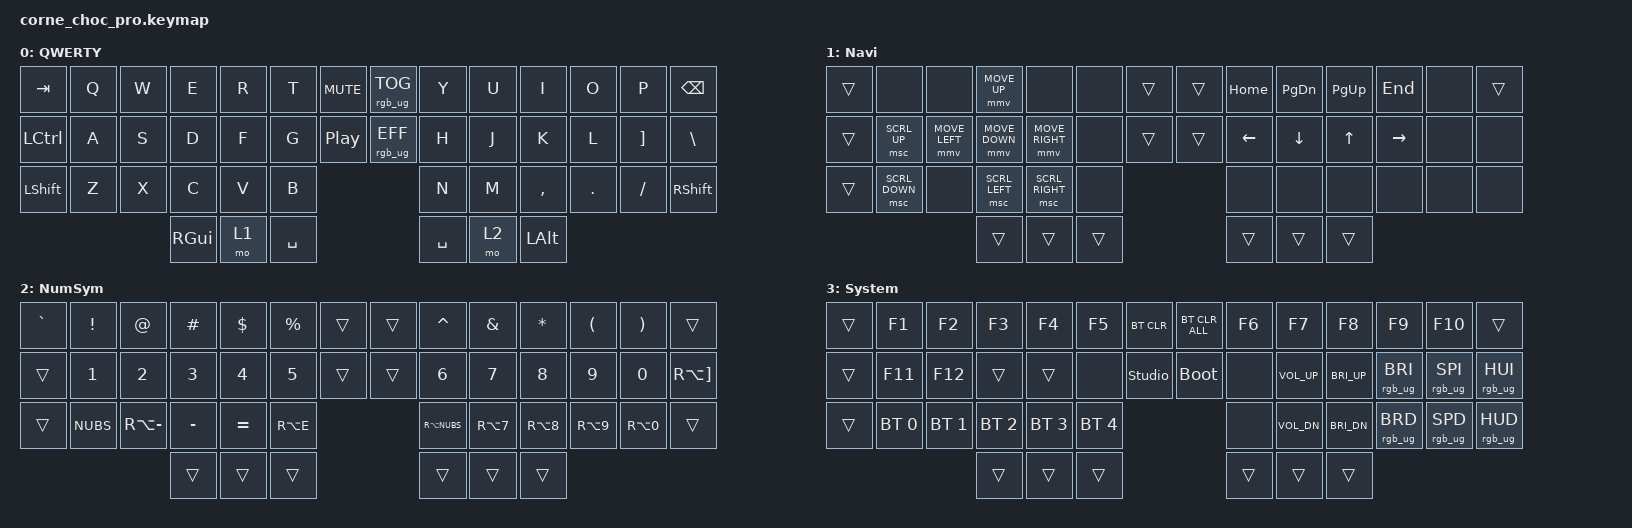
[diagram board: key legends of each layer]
/*
 * Copyright (c) 2020 The ZMK Contributors
 *
 * SPDX-License-Identifier: MIT
 */

#include <behaviors.dtsi>
#include <dt-bindings/zmk/keys.h>
#include <dt-bindings/zmk/bt.h>
#include <dt-bindings/zmk/rgb.h>

#define ZMK_POINTING_DEFAULT_MOVE_VAL 800  // default: 600
#define ZMK_POINTING_DEFAULT_SCRL_VAL 15    // default: 10
#include <dt-bindings/zmk/pointing.h>

#define DEF 0
#define NAV 1
#define SYM 2
#define ADJ 3

#define COMBO(NAME, BINDINGS, KEYPOS) \
    combo_##NAME { \
        timeout-ms = <50>; \
        bindings = <BINDINGS>; \
        key-positions = <KEYPOS>; \
        layers = <0>; \
    };

/ {
    chosen {
        zmk,physical-layout = &default_layout;
    };
};

/ {
//Row 0:      0   1   2   3   4   5   6       7   8   9  10  11  12  13
//Row 1:     14  15  16  17  18  19  20      21  22  23  24  25  26  27
//Row 2:     28  29  30  31  32  33              34  35  36  37  38  39
//Row 3:                 40  41  42              43  44  45 

    combos {
        compatible = "zmk,combos";
        COMBO(ue, &kp LBKT, 3 9)
        COMBO(ae, &kp SQT, 3 15)
        COMBO(oe, &kp SEMI, 3 11)
        COMBO(esc, &kp ESC, 0 1)
        COMBO(delte, &kp DEL, 12 13)
        COMBO(at, &kp  RA(Q), 1 14)
        COMBO(scratch, &kp F12, 9 10 11)
        combo_ret {
            timeout-ms = <50>;
            bindings = <&kp RET>;
            key-positions = <24 25>;
            layers = <0 1 2>;
        };
        combo_leftclick_r {
            timeout-ms = <50>;
            bindings = <&mkp LCLK>;
            key-positions = <23 24>;
            layers = <1>;
        };
        combo_rightclick_r {
            timeout-ms = <50>;
            bindings = <&mkp RCLK>;
            key-positions = <25 26>;
            layers = <1>;
        };
    }; //The first parameter is just an internal name, the second one the keypress we want to execute during the combo, and the last one is for the key positions.

    keymap {
        compatible = "zmk,keymap";

        DEF {
            display-name = "QWERTY";
            bindings = <
&kp TAB   &kp Q  &kp W  &kp E     &kp R  &kp T      &kp C_MUTE   &rgb_ug RGB_TOG  &kp Y      &kp U  &kp I      &kp O    &kp P     &kp BACKSPACE
&kp LCTL  &kp A  &kp S  &kp D     &kp F  &kp G      &kp C_PP     &rgb_ug RGB_EFF  &kp H      &kp J  &kp K      &kp L    &kp RBKT  &kp BSLH
&kp LSHFT &kp Z  &kp X  &kp C     &kp V  &kp B                                    &kp N      &kp M  &kp COMMA  &kp DOT  &kp FSLH  &kp RSHFT
                        &kp RGUI  &mo 1  &kp SPACE                                &kp SPACE  &mo 2  &kp LALT   
            >;
        };

        NAV {
            display-name = "Navi";
            bindings = <
&trans &none          &none          &mmv MOVE_UP    &none           &none &trans  &trans &kp HOME &kp PG_DN &kp PG_UP &kp END   &none  &trans
&trans &msc SCRL_UP   &mmv MOVE_LEFT &mmv MOVE_DOWN  &mmv MOVE_RIGHT &none &trans  &trans &kp LEFT &kp DOWN  &kp UP    &kp RIGHT &none  &none
&trans &msc SCRL_DOWN &none          &msc SCRL_LEFT  &msc SCRL_RIGHT &none                &none    &none     &none     &none     &none  &none
                                     &trans          &trans          &trans               &trans   &trans    &trans    
            >;
        };

        SYM {
            display-name = "NumSym";
            bindings = <
&kp GRAVE &kp EXCLAMATION  &kp AT_SIGN   &kp HASH  &kp DOLLAR  &kp PERCENT &trans  &trans &kp CARET     &kp AMPERSAND  &kp ASTERISK &kp LEFT_PARENTHESIS &kp RIGHT_PARENTHESIS &trans
&trans    &kp N1           &kp N2        &kp N3    &kp N4      &kp N5      &trans  &trans &kp N6        &kp N7         &kp N8       &kp N9               &kp N0                &kp RA(RIGHT_BRACKET)
&trans    &kp NUBS         &kp RA(MINUS) &kp MINUS &kp EQUAL   &kp RA(E)                  &kp RA(NUBS)  &kp RA(N7)     &kp RA(N8)   &kp RA(N9)           &kp RA(N0)            &trans
                                         &trans    &trans      &trans                     &trans        &trans         &trans 
            >;
        };
     
        ADJ {
            display-name = "System";
            bindings = <
&trans  &kp F1        &kp F2        &kp F3        &kp F4        &kp F5       &bt BT_CLR      &bt BT_CLR_ALL &kp F6 &kp F7       &kp F8       &kp F9          &kp F10         &trans
&trans  &kp F11       &kp F12       &trans        &trans        &none        &studio_unlock  &bootloader    &none  &kp C_VOL_UP &kp C_BRI_UP &rgb_ug RGB_BRI &rgb_ug RGB_SPI &rgb_ug RGB_HUI
&trans  &bt BT_SEL 0  &bt BT_SEL 1  &bt BT_SEL 2  &bt BT_SEL 3  &bt BT_SEL 4                                &none  &kp C_VOL_DN &kp C_BRI_DN &rgb_ug RGB_BRD &rgb_ug RGB_SPD &rgb_ug RGB_HUD
                                    &trans        &trans        &trans                                      &trans &trans       &trans 
            >;
        };
    };

    conditional_layers {
        compatible = "zmk,conditional-layers";

        l3 {
            if-layers = <1 2>;
            then-layer = <3>;
        };
    };
};
